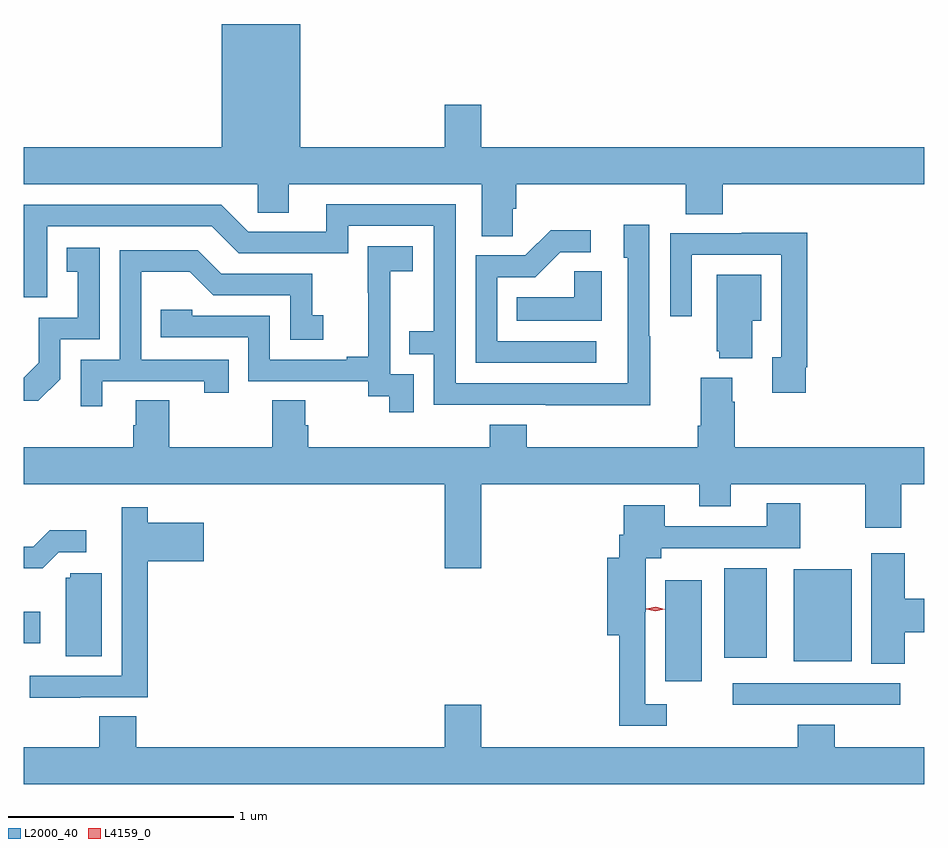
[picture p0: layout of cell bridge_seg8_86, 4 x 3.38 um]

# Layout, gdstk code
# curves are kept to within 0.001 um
import gdstk
lib = gdstk.Library(unit=1e-6, precision=1e-09)
def R(c, l, rs):  # rectangles x0, y0, x1, y1
    for r in rs: c.add(gdstk.rectangle(r[:2], r[2:], *l))
def P(c, l, *ps):  # polygons
    for p in ps: c.add(gdstk.Polygon(p, *l))
L2000_40 = (2000, 40)
L4159_0 = (4159, 0)

bridge_seg8_86 = lib.new_cell('bridge_seg8_86')
R(bridge_seg8_86, L2000_40, [(681.771,1086.216,682.516,1086.312), (681.473,1086.321,681.634,1086.769), (682.043,1086.41,682.3,1086.817), (681.734,1086.425,681.922,1086.823), (678.623,1086.488,678.697,1086.628)])
P(bridge_seg8_86, L2000_40, [(680.796,1088.419),(680.81,1088.419),(680.81,1088.528),(681.563,1088.528),(681.563,1088.395),(681.728,1088.395),(681.728,1088.528),(682.623,1088.528),(682.623,1088.692),(680.656,1088.692),(680.656,1088.881),(680.492,1088.881),(680.492,1088.692),(679.852,1088.692),(679.852,1089.239),(679.502,1089.239),(679.502,1088.692),(678.623,1088.692),(678.623,1088.528),(679.662,1088.528),(679.662,1088.401),(679.801,1088.401),(679.801,1088.528),(680.657,1088.528),(680.657,1088.296),(680.796,1088.296)],
  [(681.405,1087.853),(681.402,1087.853),(681.402,1088.347),(681.287,1088.347),(681.287,1088.202),(681.306,1088.202),(681.306,1087.644),(680.541,1087.644),(680.541,1088.439),(679.967,1088.439),(679.967,1088.316),(679.62,1088.316),(679.5,1088.436),(678.623,1088.436),(678.623,1088.025),(678.729,1088.025),(678.729,1088.34),(679.458,1088.34),(679.578,1088.22),(680.064,1088.22),(680.064,1088.343),(680.445,1088.343),(680.445,1087.874),(680.335,1087.874),(680.335,1087.773),(680.445,1087.773),(680.445,1087.548),(681.405,1087.547)],
  [(681.166,1087.83),(680.727,1087.83),(680.727,1088.115),(680.896,1088.115),(681.007,1088.226),(681.142,1088.226),(681.142,1088.324),(680.963,1088.324),(680.85,1088.211),(680.631,1088.211),(680.631,1087.734),(681.166,1087.734)],
  [(682.096,1087.714),(682.103,1087.714),(682.103,1088.312),(681.811,1088.312),(681.811,1088.31),(681.495,1088.31),(681.495,1087.941),(681.591,1087.941),(681.591,1088.214),(681.987,1088.214),(681.987,1087.758),(681.947,1087.758),(681.947,1087.602),(682.096,1087.602)],
  [(680.355,1087.683),(680.25,1087.683),(680.25,1087.913),(680.252,1087.913),(680.252,1088.141),(680.35,1088.141),(680.35,1088.251),(680.152,1088.251),(680.152,1088.045),(680.153,1088.045),(680.153,1087.762),(680.057,1087.762),(680.057,1087.749),(679.716,1087.749),(679.716,1087.944),(679.371,1087.944),(679.371,1087.971),(679.231,1087.971),(679.231,1087.848),(679.62,1087.848),(679.62,1087.653),(680.154,1087.653),(680.154,1087.585),(680.247,1087.585),(680.247,1087.515),(680.355,1087.515)],
  [(678.786,1087.662),(678.786,1087.839),(678.96,1087.839),(678.96,1088.245),(678.814,1088.245),(678.814,1088.139),(678.863,1088.139),(678.863,1087.935),(678.69,1087.935),(678.69,1087.734),(678.623,1087.667),(678.623,1087.565),(678.688,1087.565)],
  [(678.973,1087.653),(679.424,1087.653),(679.424,1087.602),(679.535,1087.602),(679.535,1087.749),(679.146,1087.749),(679.146,1088.138),(679.36,1088.138),(679.464,1088.034),(679.806,1088.034),(679.806,1087.836),(679.954,1087.836),(679.954,1087.945),(679.905,1087.945),(679.905,1088.13),(679.501,1088.13),(679.396,1088.235),(679.05,1088.235),(679.05,1087.749),(678.876,1087.749),(678.876,1087.542),(678.973,1087.542)],
  [(681.19,1088.141),(681.069,1088.141),(681.069,1088.026),(680.812,1088.026),(680.812,1087.922),(681.19,1087.922)],
  [(681.859,1087.922),(681.898,1087.922),(681.898,1088.125),(681.701,1088.125),(681.701,1087.785),(681.713,1087.785),(681.713,1087.754),(681.859,1087.754)],
  [(679.873,1087.458),(679.873,1087.568),(679.726,1087.568),(679.726,1087.36),(679.269,1087.36),(679.269,1087.568),(679.121,1087.568),(679.121,1087.458),(679.109,1087.458),(679.109,1087.36),(678.623,1087.36),(678.623,1087.196),(680.492,1087.196),(680.492,1086.822),(680.656,1086.822),(680.656,1087.196),(681.623,1087.196),(681.623,1087.097),(681.763,1087.097),(681.763,1087.196),(682.36,1087.196),(682.36,1087.002),(682.52,1087.002),(682.52,1087.196),(682.623,1087.196),(682.623,1087.36),(681.782,1087.36),(681.782,1087.562),(681.769,1087.562),(681.769,1087.669),(681.629,1087.669),(681.629,1087.456),(681.617,1087.456),(681.617,1087.36),(680.858,1087.36),(680.858,1087.459),(680.693,1087.459),(680.693,1087.36),(679.886,1087.36),(679.886,1087.458)],
  [(681.478,1086.219),(681.384,1086.219),(681.384,1086.628),(681.385,1086.628),(681.385,1086.866),(681.454,1086.866),(681.454,1086.912),(682.071,1086.912),(682.071,1087.111),(681.923,1087.111),(681.923,1087.008),(681.469,1087.008),(681.469,1087.102),(681.287,1087.102),(681.287,1086.97),(681.268,1086.97),(681.268,1086.868),(681.215,1086.868),(681.215,1086.524),(681.268,1086.524),(681.268,1086.123),(681.478,1086.123)],
  [(678.875,1086.249),(679.175,1086.249),(679.175,1086.854),(679.423,1086.854),(679.423,1087.024),(679.175,1087.024),(679.175,1087.093),(679.058,1087.093),(679.058,1086.87),(679.059,1086.87),(679.059,1086.345),(678.651,1086.345),(678.651,1086.247),(678.875,1086.247)],
  [(678.78,1086.894),(678.901,1086.894),(678.901,1086.991),(678.739,1086.991),(678.666,1086.918),(678.623,1086.918),(678.623,1086.821),(678.707,1086.821)],
  [(682.535,1086.539),(682.623,1086.539),(682.623,1086.686),(682.535,1086.686),(682.535,1086.889),(682.388,1086.889),(682.388,1086.397),(682.535,1086.397)],
  [(678.97,1086.801),(678.831,1086.801),(678.831,1086.78),(678.809,1086.78),(678.809,1086.432),(678.97,1086.432)],
  [(682.623,1086.028),(682.226,1086.028),(682.226,1086.127),(682.061,1086.127),(682.061,1086.028),(680.656,1086.028),(680.656,1086.217),(680.492,1086.217),(680.492,1086.028),(679.124,1086.028),(679.124,1086.164),(678.959,1086.164),(678.959,1086.028),(678.623,1086.028),(678.623,1085.864),(682.623,1085.864)])
P(bridge_seg8_86, L4159_0, [(681.429,1086.631),(681.389,1086.641),(681.389,1086.642),(681.389,1086.642),(681.43,1086.651),(681.47,1086.641),(681.47,1086.641),(681.47,1086.641)])

lib.write_gds('bridge_seg8_86.gds')
